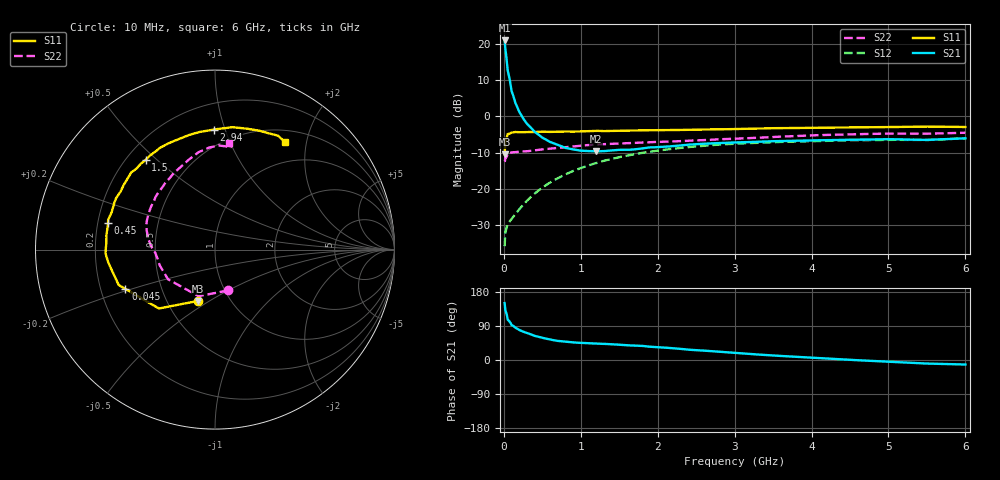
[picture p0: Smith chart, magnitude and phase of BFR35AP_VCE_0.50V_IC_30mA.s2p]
! Infineon Technologies  Discrete & RF Semiconductors
! BFR35AP
! VCE = 0.50 V,  IC =  30 mA
! Common Emitter S-Parameters:  Nov 2015
# GHz  S  MA  R  50
!  f  S11  S21  S12  S22
! GHz  MAG  ANG  MAG  ANG  MAG  ANG  MAG  ANG
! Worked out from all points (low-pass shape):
!   210 points, 10 MHz to 6 GHz, reference 50 ohm
!   highest |S21| = 20.90 dB at 10 MHz (marker M1); lowest = -9.6 dB at 1.2 GHz (marker M2)
!   |S21| within 3 dB of the highest: start of sweep to 24.03 MHz
!   lowest |S11| = -10.4 dB at 10 MHz (marker M3), VSWR 1.86, Z = 35.6 - j22.4 ohm
!   |S11| at or under -10 dB: start of sweep to 11.23 MHz
!   |S22| runs from -12.4 to -4.5 dB; largest |S21 - S12| = 11
!   S11 on the Smith chart (normalised r, x): 10 MHz: 0.71, -0.45; 45 MHz: 0.31, -0.19; 450 MHz: 0.24, +0.12; 1.5 GHz: 0.28, +0.46; 2.94 GHz: 0.38, +0.91; 6 GHz: 0.66, +1.64
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0.01  0.3009 -108.2  11.1 150.1  0.0164 55.3  0.2392 -72.0
0.02  0.4531 -133.6  8.47 130.5  0.0255 43.2  0.2752 -109.4
0.045  0.5451 -156.3  4.9 112.9  0.0319 35.4  0.2954 -142.2
0.05  0.5716 -159.8  4.296 106.1  0.0332 34.2  0.3096 -147.7
0.1  0.5982 -172.8  2.25 92.5  0.0386 38.3  0.3202 -164.0
0.15  0.6107 -178.1  1.533 85.0  0.0453 44.3  0.3228 -169.6
0.2  0.607 177.9  1.159 79.3  0.0526 49.7  0.3262 -172.8
0.26  0.6074 174.6  0.908 74.1  0.0623 53.9  0.3307 -175.4
0.34  0.6101 170.6  0.721 68.6  0.076 57.8  0.3354 -177.5
0.45  0.6142 166.0  0.562 61.3  0.0955 60.1  0.3463 179.5
0.6  0.6122 160.0  0.446 53.8  0.1231 60.7  0.3603 175.6
0.7  0.618 155.7  0.407 50.4  0.1409 60.5  0.369 173.0
1.02  0.6236 144.2  0.337 44.9  0.1981 56.3  0.3975 163.6
1.2  0.6346 137.4  0.331 43.3  0.2285 53.2  0.4106 158.2
1.5  0.6314 127.8  0.347 40.3  0.2752 47.5  0.4236 149.7
2.02  0.6465 112.3  0.378 33.5  0.341 37.4  0.4472 135.4
2.94  0.6684 90.7  0.435 19.6  0.4177 21.3  0.4905 115.5
3.1  0.6732 88.0  0.441 17.2  0.4252 18.8  0.4979 112.7
4.1  0.6985 73.9  0.47 5.0  0.4595 5.5  0.5532 98.4
5.1  0.7155 64.4  0.484 -5.6  0.4765 -5.2  0.5796 86.7
5.5  0.7252 61.1  0.475 -9.4  0.4736 -9.2  0.5781 81.2
6  0.7156 57.1  0.5 -11.9  0.4997 -12.5  0.5966 82.6
